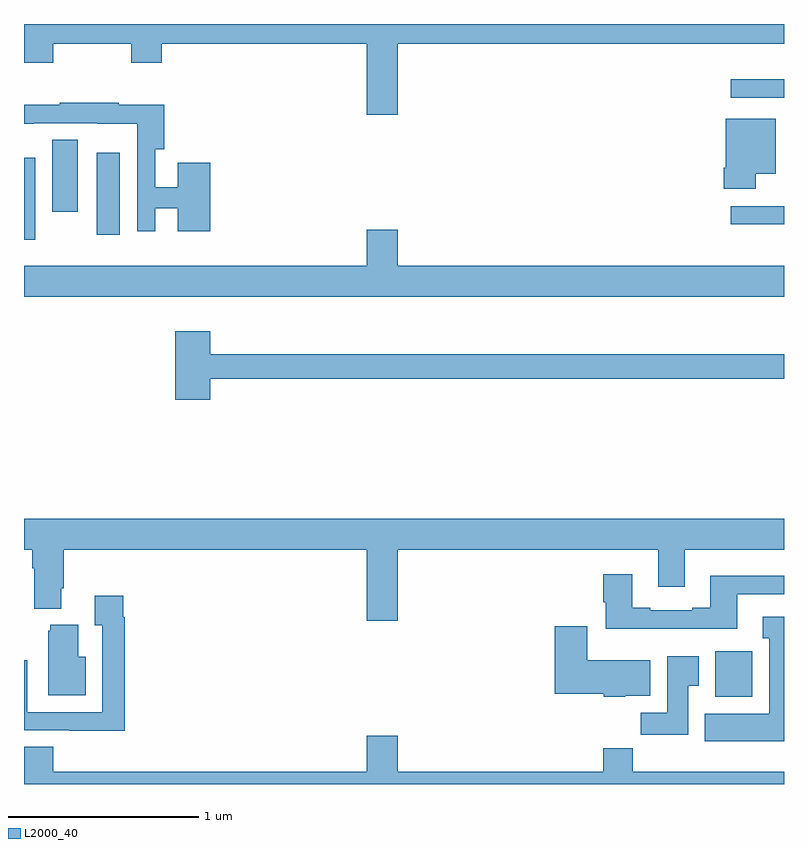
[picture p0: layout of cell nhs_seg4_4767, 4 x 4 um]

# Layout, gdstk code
import gdstk
lib = gdstk.Library(unit=1e-6, precision=1e-09)
def R(c, l, rs):  # rectangles x0, y0, x1, y1
    for r in rs: c.add(gdstk.rectangle(r[:2], r[2:], *l))
def P(c, l, *ps):  # polygons
    for p in ps: c.add(gdstk.Polygon(p, *l))
L2000_40 = (2000, 40)

nhs_seg4_4767 = lib.new_cell('nhs_seg4_4767')
R(nhs_seg4_4767, L2000_40, [(370.637,817.358,370.834,817.6), (367,819.765,367.06,820.195), (367.382,819.792,367.504,820.222), (370.719,819.846,371,819.942), (367.148,819.912,367.282,820.292), (370.719,820.512,371,820.61)])
P(nhs_seg4_4767, L2000_40, [(368.968,820.796),(371,820.796),(371,820.9),(367,820.9),(367,820.697),(367.155,820.697),(367.155,820.796),(367.564,820.796),(367.564,820.697),(367.724,820.697),(367.724,820.796),(368.804,820.796),(368.804,820.422),(368.968,820.422)],
  [(367.692,819.93),(367.808,819.93),(367.808,819.81),(367.979,819.81),(367.979,820.171),(367.808,820.171),(367.808,820.04),(367.692,820.04),(367.692,820.241),(367.739,820.241),(367.739,820.476),(367.499,820.476),(367.499,820.486),(367.189,820.486),(367.189,820.476),(367,820.476),(367,820.376),(367.052,820.376),(367.052,820.377),(367.386,820.377),(367.386,820.376),(367.596,820.376),(367.596,819.81),(367.692,819.81)],
  [(370.852,820.112),(370.957,820.112),(370.957,820.402),(370.694,820.402),(370.694,820.144),(370.682,820.144),(370.682,820.032),(370.852,820.032)],
  [(371,819.628),(368.968,819.628),(368.968,819.817),(368.804,819.817),(368.804,819.628),(367,819.628),(367,819.464),(371,819.464)],
  [(367.979,819.034),(371,819.034),(371,819.163),(367.979,819.163),(367.979,819.283),(367.796,819.283),(367.796,818.922),(367.979,818.922)],
  [(368.968,818.132),(370.337,818.132),(370.337,817.938),(370.477,817.938),(370.477,818.132),(371,818.132),(371,818.296),(367,818.296),(367,818.132),(367.043,818.132),(367.043,818.036),(367.055,818.036),(367.055,817.823),(367.195,817.823),(367.195,817.93),(367.208,817.93),(367.208,818.132),(368.804,818.132),(368.804,817.758),(368.968,817.758)],
  [(370.753,817.899),(371,817.899),(371,817.996),(370.613,817.996),(370.613,817.828),(370.517,817.828),(370.517,817.815),(370.297,817.815),(370.297,817.828),(370.201,817.828),(370.201,818.005),(370.049,818.005),(370.049,817.857),(370.061,817.857),(370.061,817.718),(370.753,817.718)],
  [(367.529,817.778),(367.522,817.778),(367.522,817.891),(367.373,817.891),(367.373,817.735),(367.413,817.735),(367.413,817.278),(367.017,817.278),(367.017,817.552),(367,817.552),(367,817.182),(367.237,817.182),(367.237,817.181),(367.529,817.181)],
  [(371,817.78),(370.889,817.78),(370.889,817.667),(370.922,817.667),(370.922,817.27),(370.583,817.27),(370.583,817.124),(371,817.124)],
  [(367.324,817.57),(367.285,817.57),(367.285,817.738),(367.139,817.738),(367.139,817.707),(367.127,817.707),(367.127,817.367),(367.324,817.367)],
  [(370.164,817.364),(370.297,817.364),(370.297,817.552),(369.964,817.552),(369.964,817.729),(369.794,817.729),(369.794,817.376),(370.05,817.376),(370.05,817.358),(370.164,817.358)],
  [(370.495,817.417),(370.552,817.417),(370.552,817.573),(370.385,817.573),(370.385,817.276),(370.246,817.276),(370.246,817.158),(370.495,817.158)],
  [(371,816.964),(370.205,816.964),(370.205,817.088),(370.049,817.088),(370.049,816.964),(368.968,816.964),(368.968,817.153),(368.804,817.153),(368.804,816.964),(367.154,816.964),(367.154,817.097),(367,817.097),(367,816.9),(371,816.9)])

lib.write_gds('nhs_seg4_4767.gds')
